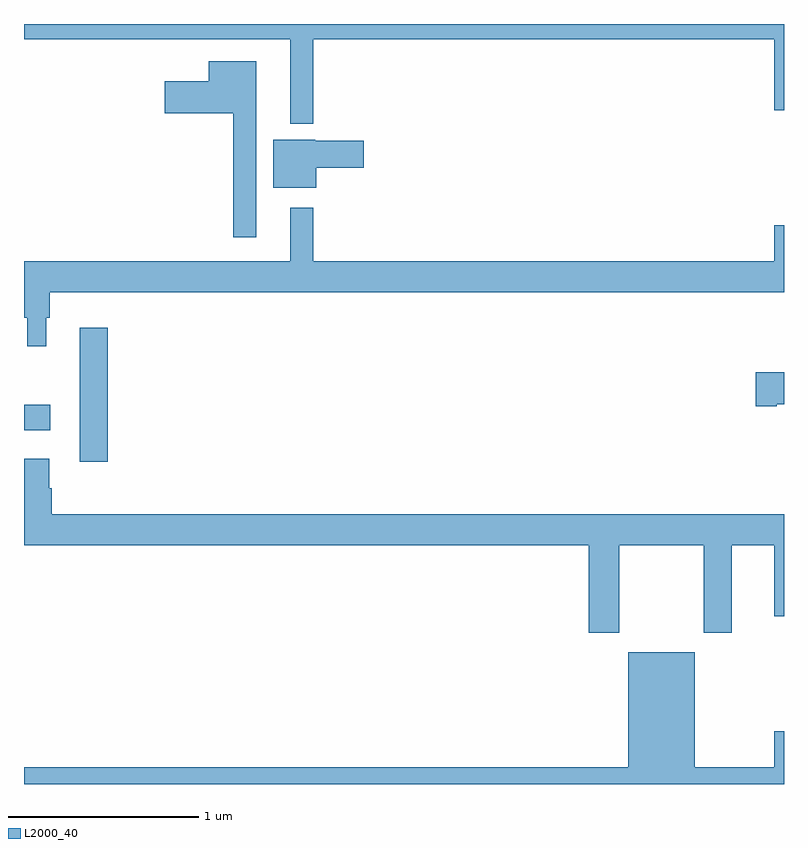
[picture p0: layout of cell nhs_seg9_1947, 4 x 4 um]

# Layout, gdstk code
import gdstk
lib = gdstk.Library(unit=1e-6, precision=1e-09)
def R(c, l, rs):  # rectangles x0, y0, x1, y1
    for r in rs: c.add(gdstk.rectangle(r[:2], r[2:], *l))
def P(c, l, *ps):  # polygons
    for p in ps: c.add(gdstk.Polygon(p, *l))
L2000_40 = (2000, 40)

nhs_seg9_1947 = lib.new_cell('nhs_seg9_1947')
R(nhs_seg9_1947, L2000_40, [(221.294,1194.195,221.441,1194.901), (221,1194.362,221.137,1194.497)])
P(nhs_seg9_1947, L2000_40, [(222.523,1196.42),(224.948,1196.42),(224.948,1196.046),(225,1196.046),(225,1196.5),(221,1196.5),(221,1196.42),(222.401,1196.42),(222.401,1195.976),(222.523,1195.976)],
  [(222.223,1196.305),(221.972,1196.305),(221.972,1196.2),(221.742,1196.2),(221.742,1196.03),(222.102,1196.03),(222.102,1195.377),(222.223,1195.377)],
  [(222.538,1195.744),(222.787,1195.744),(222.787,1195.886),(222.534,1195.886),(222.534,1195.891),(222.311,1195.891),(222.311,1195.637),(222.538,1195.637)],
  [(221.116,1194.954),(221.135,1194.954),(221.135,1195.088),(225,1195.088),(225,1195.441),(224.948,1195.441),(224.948,1195.252),(222.523,1195.252),(222.523,1195.534),(222.401,1195.534),(222.401,1195.252),(221,1195.252),(221,1194.954),(221.018,1194.954),(221.018,1194.804),(221.116,1194.804)],
  [(224.962,1194.5),(225,1194.5),(225,1194.666),(224.85,1194.666),(224.85,1194.488),(224.962,1194.488)],
  [(224.133,1193.756),(224.578,1193.756),(224.578,1193.295),(224.725,1193.295),(224.725,1193.756),(224.948,1193.756),(224.948,1193.382),(225,1193.382),(225,1193.92),(221.147,1193.92),(221.147,1194.057),(221.134,1194.057),(221.134,1194.211),(221,1194.211),(221,1193.756),(223.973,1193.756),(223.973,1193.295),(224.133,1193.295)],
  [(225,1192.777),(224.948,1192.777),(224.948,1192.588),(224.53,1192.588),(224.53,1193.194),(224.18,1193.194),(224.18,1192.588),(221,1192.588),(221,1192.5),(225,1192.5)])

lib.write_gds('nhs_seg9_1947.gds')
